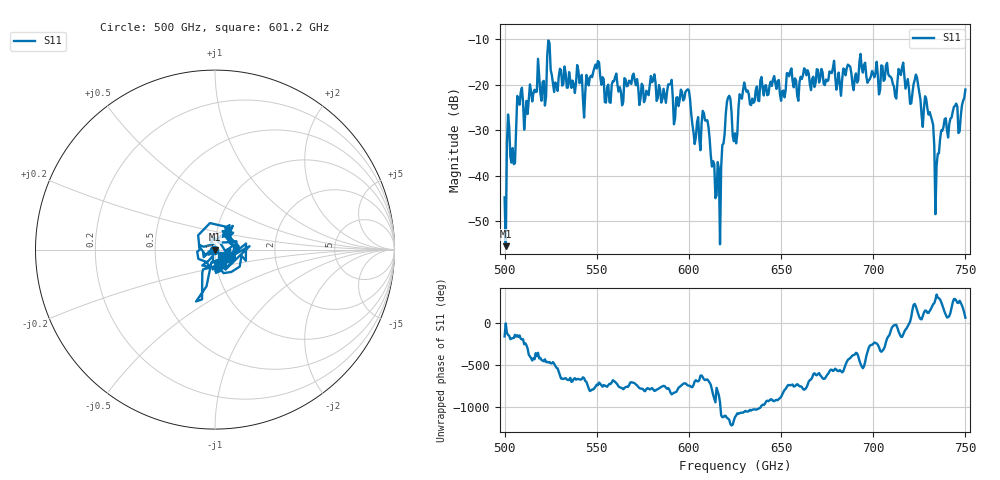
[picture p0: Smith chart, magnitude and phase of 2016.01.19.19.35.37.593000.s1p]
!Created with skrf (http://scikit-rf.org).
# GHz S RI R 50.0
!freq ReS11 ImS11
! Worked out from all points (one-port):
!   401 points, 500 GHz to 750 GHz, reference 50 ohm
!   lowest |S11| = -55.5 dB at 500.6 GHz (marker M1), VSWR 1.00, Z = 50.2 - j0.0149 ohm
!   |S11| at or under -10 dB: start of sweep to end of sweep
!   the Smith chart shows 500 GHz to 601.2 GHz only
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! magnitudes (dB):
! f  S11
! 500 GHz  -44.8
! 500.6 GHz  -55.5
! 502.5 GHz  -29.3
! 505 GHz  -37.5
! 508.1 GHz  -24.4
! 521.2 GHz  -19.1
! 524.4 GHz  -10.9
! 527.5 GHz  -19.5
! 531.2 GHz  -20.2
! 543.8 GHz  -21.8
! 550 GHz  -16.4
! 562.5 GHz  -20.5
! 580.6 GHz  -19.0
! 593.8 GHz  -22.7
! 599.4 GHz  -21.0
! 603.1 GHz  -33.0
! 608.8 GHz  -27.8
! 615.6 GHz  -37.0
! 621.2 GHz  -22.8
! 625 GHz  -30.7
! 630.6 GHz  -20.7
! 656.2 GHz  -19.2
! 687.5 GHz  -16.0
! 718.8 GHz  -18.7
! 729.4 GHz  -25.2
! 734.4 GHz  -37.7
! 738.1 GHz  -29.3
! 750 GHz  -21.0
